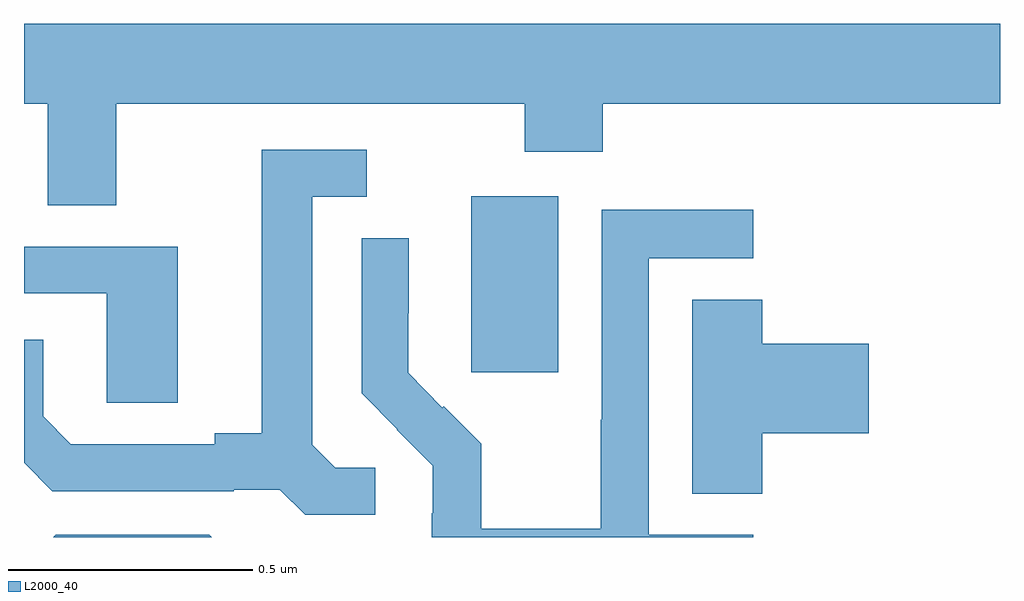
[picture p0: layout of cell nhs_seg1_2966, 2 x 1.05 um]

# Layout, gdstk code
import gdstk
lib = gdstk.Library(unit=1e-6, precision=1e-09)
def R(c, l, rs):  # rectangles x0, y0, x1, y1
    for r in rs: c.add(gdstk.rectangle(r[:2], r[2:], *l))
def P(c, l, *ps):  # polygons
    for p in ps: c.add(gdstk.Polygon(p, *l))
L2000_40 = (2000, 40)

nhs_seg1_2966 = lib.new_cell('nhs_seg1_2966')
R(nhs_seg1_2966, L2000_40, [(148.916,528.537,149.095,528.898)])
P(nhs_seg1_2966, L2000_40, [(148.189,529.088),(149.026,529.088),(149.026,528.989),(149.186,528.989),(149.186,529.088),(150,529.088),(150,529.252),(148,529.252),(148,529.088),(148.049,529.088),(148.049,528.88),(148.189,528.88)],
  [(148.72,528.342),(148.638,528.342),(148.591,528.389),(148.591,528.897),(148.702,528.897),(148.702,528.993),(148.487,528.993),(148.487,528.413),(148.391,528.413),(148.391,528.39),(148.096,528.39),(148.039,528.447),(148.039,528.604),(148,528.604),(148,528.352),(148.058,528.294),(148.43,528.294),(148.43,528.297),(148.524,528.297),(148.576,528.245),(148.72,528.245)],
  [(149.494,528.204),(149.28,528.204),(149.28,528.771),(149.494,528.771),(149.494,528.87),(149.184,528.87),(149.184,528.44),(149.182,528.44),(149.182,528.217),(148.937,528.217),(148.937,528.391),(148.86,528.468),(148.857,528.465),(148.787,528.536),(148.787,528.658),(148.788,528.658),(148.788,528.812),(148.692,528.812),(148.692,528.494),(148.765,528.421),(148.764,528.42),(148.838,528.346),(148.838,528.249),(148.836,528.249),(148.836,528.199),(149.494,528.199)],
  [(148.315,528.795),(148,528.795),(148,528.699),(148.17,528.699),(148.17,528.475),(148.315,528.475)],
  [(149.513,528.413),(149.731,528.413),(149.731,528.596),(149.513,528.596),(149.513,528.686),(149.369,528.686),(149.369,528.289),(149.513,528.289)],
  [(148.38,528.204),(148.065,528.204),(148.06,528.199),(148.385,528.199)])

lib.write_gds('nhs_seg1_2966.gds')
